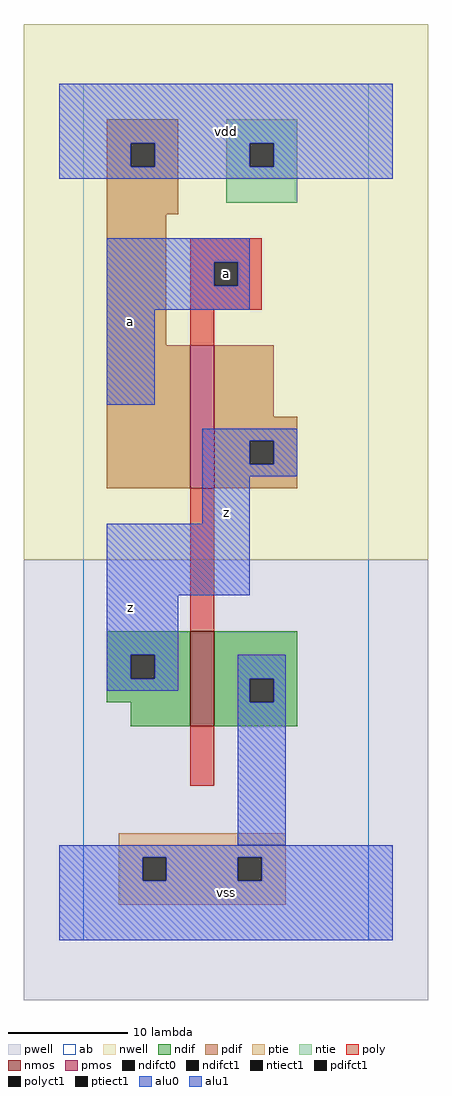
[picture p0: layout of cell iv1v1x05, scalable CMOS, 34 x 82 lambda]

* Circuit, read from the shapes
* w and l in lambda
.subckt iv1v1x05 a vdd vss z
M1 vss a z vss nfet w=8 l=2
M2 z a vdd vdd pfet w=12 l=2
.ends

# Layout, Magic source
magic
tech scmos
<< ab >>
rect 0 0 24 72
<< nwell >>
rect -5 32 29 77
<< pwell >>
rect -5 -5 29 32
<< poly >>
rect 9 57 15 59
rect 9 55 11 57
rect 13 55 15 57
rect 9 53 15 55
rect 9 50 11 53
rect 9 26 11 38
rect 9 13 11 18
<< ndif >>
rect 2 24 9 26
rect 2 22 4 24
rect 6 22 9 24
rect 2 20 9 22
rect 4 18 9 20
rect 11 22 18 26
rect 11 20 14 22
rect 16 20 18 22
rect 11 18 18 20
<< pdif >>
rect 2 67 8 69
rect 2 65 4 67
rect 6 65 8 67
rect 2 61 8 65
rect 2 50 7 61
rect 2 38 9 50
rect 11 44 16 50
rect 11 42 18 44
rect 11 40 14 42
rect 16 40 18 42
rect 11 38 18 40
<< alu1 >>
rect -2 67 26 72
rect -2 65 4 67
rect 6 65 14 67
rect 16 65 26 67
rect -2 64 26 65
rect 2 57 14 59
rect 2 55 11 57
rect 13 55 14 57
rect 2 53 14 55
rect 2 45 6 53
rect 10 42 18 43
rect 10 40 14 42
rect 16 40 18 42
rect 10 39 18 40
rect 10 35 14 39
rect 2 29 14 35
rect 2 24 8 29
rect 2 22 4 24
rect 6 22 8 24
rect 2 21 8 22
rect -2 7 26 8
rect -2 5 5 7
rect 7 5 13 7
rect 15 5 26 7
rect -2 0 26 5
<< ptie >>
rect 3 7 17 9
rect 3 5 5 7
rect 7 5 13 7
rect 15 5 17 7
rect 3 3 17 5
<< ntie >>
rect 12 67 18 69
rect 12 65 14 67
rect 16 65 18 67
rect 12 62 18 65
<< nmos >>
rect 9 18 11 26
<< pmos >>
rect 9 38 11 50
<< polyct1 >>
rect 11 55 13 57
<< ndifct0 >>
rect 14 20 16 22
<< ndifct1 >>
rect 4 22 6 24
<< ntiect1 >>
rect 14 65 16 67
<< ptiect1 >>
rect 5 5 7 7
rect 13 5 15 7
<< pdifct1 >>
rect 4 65 6 67
rect 14 40 16 42
<< alu0 >>
rect 13 22 17 24
rect 13 20 14 22
rect 16 20 17 22
rect 13 8 17 20
<< labels >>
rlabel alu1 4 28 4 28 6 z
rlabel alu1 4 52 4 52 6 a
rlabel alu1 12 4 12 4 6 vss
rlabel alu1 12 36 12 36 6 z
rlabel alu1 12 68 12 68 6 vdd
rlabel polyct1 12 56 12 56 6 a
<< end >>
